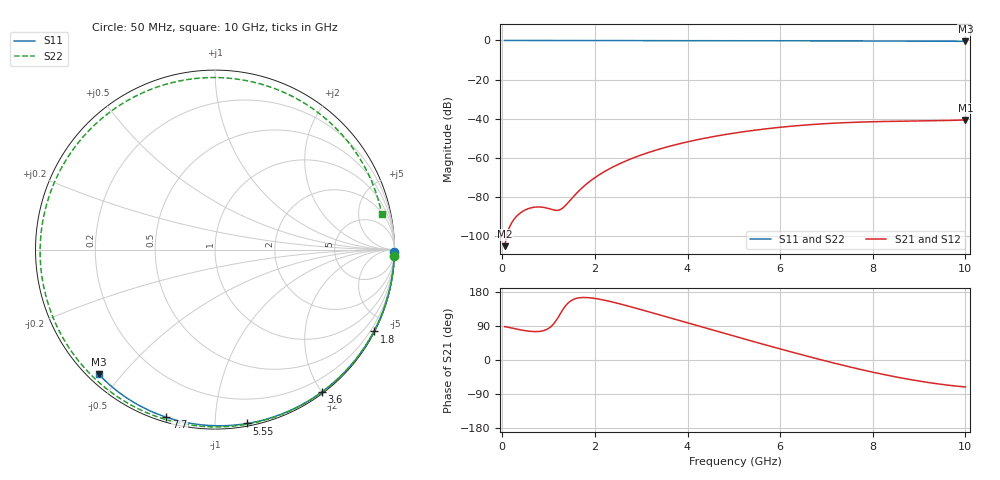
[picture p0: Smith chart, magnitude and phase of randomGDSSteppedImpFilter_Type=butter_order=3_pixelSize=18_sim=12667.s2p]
! freq	dB(S11)	phase(S11)	dB(S12)	phase(S12)
!  dB(S21)	phase(S21)	dB(S22)	phase(S22)
!S-par simulation data
#  GHz  S  DB  R 50
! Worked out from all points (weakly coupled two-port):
!   200 points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, 50 MHz to 10 GHz, reference 50 ohm
!   highest |S21| = -40.68 dB at 10 GHz (marker M1); lowest = -105.2 dB at 50 MHz (marker M2)
!   lowest |S11| = -0.4 dB at 10 GHz (marker M3), VSWR 38.81, Z = 1.53 - j21.8 ohm
!   |S11| at or under -10 dB: nowhere
!   |S22| runs from -0.4 to 0.0 dB; largest |S21 - S12| = 0
!   S11 on the Smith chart (normalised r, x): 50 MHz: open; 1.8 GHz: 0.04, -4.13; 3.6 GHz: 0.02, -1.99; 5.55 GHz: 0.02, -1.20; 7.7 GHz: 0.02, -0.75; 10 GHz: 0.03, -0.44
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0.05  -0.00 -0.8  -105.23 88.1  -105.23 88.1  -0.00 -2.1
0.7  -0.01 -10.7  -85.26 75.0  -85.26 75.0  -0.04 -29.3
1.1  -0.02 -16.8  -86.69 94.0  -86.69 94.0  -0.06 -45.7
1.5  -0.03 -22.8  -80.82 157.6  -80.82 157.6  -0.08 -61.5
1.55  -0.03 -23.5  -79.51 160.6  -79.51 160.6  -0.08 -63.5
1.75  -0.03 -26.5  -74.82 165.0  -74.82 165.0  -0.09 -71.2
1.8  -0.03 -27.2  -73.80 164.9  -73.80 164.9  -0.09 -73.1
2.1  -0.04 -31.7  -68.61 160.4  -68.61 160.4  -0.10 -84.3
2.45  -0.05 -36.8  -64.00 150.8  -64.00 150.8  -0.11 -97.0
2.9  -0.06 -43.3  -59.45 136.2  -59.45 136.2  -0.13 -112.7
3.4  -0.07 -50.4  -55.53 119.0  -55.53 119.0  -0.15 -129.5
3.6  -0.07 -53.3  -54.20 112.0  -54.20 112.0  -0.16 -136.1
4.35  -0.09 -63.6  -50.11 85.7  -50.11 85.7  -0.19 -160.1
5.05  -0.11 -73.0  -47.24 61.4  -47.24 61.4  -0.23 177.9
5.55  -0.13 -79.5  -45.62 44.4  -45.62 44.4  -0.26 162.1
6.1  -0.15 -86.6  -44.18 25.9  -44.18 25.9  -0.29 144.5
6.7  -0.18 -94.1  -42.99 6.4  -42.99 6.4  -0.32 124.9
7.2  -0.21 -100.2  -42.27 -9.2  -42.27 -9.2  -0.34 108.1
7.7  -0.24 -106.2  -41.78 -23.9  -41.78 -23.9  -0.37 91.0
8.35  -0.29 -113.9  -41.40 -41.1  -41.40 -41.1  -0.39 68.4
9.2  -0.36 -123.7  -41.10 -59.4  -41.10 -59.4  -0.41 38.9
10  -0.45 -132.9  -40.68 -71.1  -40.68 -71.1  -0.45 12.2
